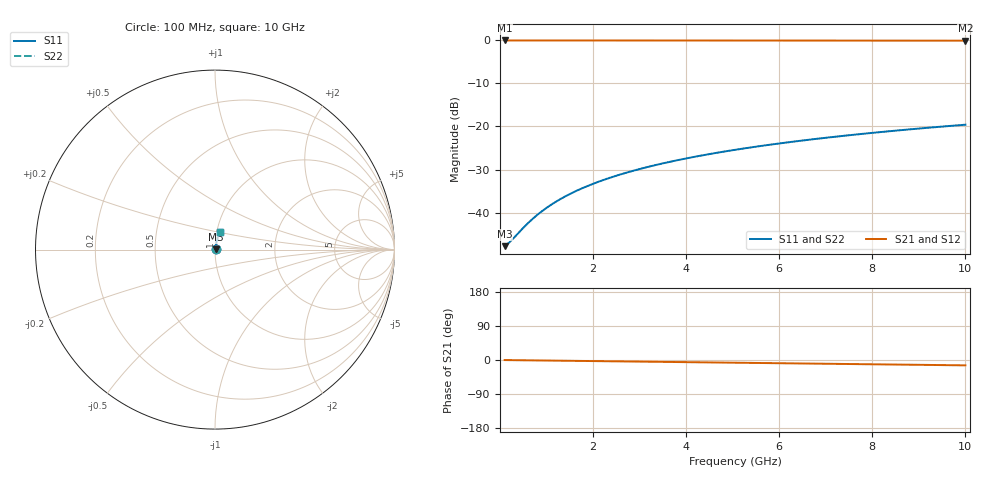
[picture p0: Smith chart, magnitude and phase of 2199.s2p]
# Hz S RI R 50.00
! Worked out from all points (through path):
!   100 points, 100 MHz to 10 GHz, reference 50 ohm
!   highest |S21| = -0.03 dB at 100 MHz (marker M1); lowest = -0.1 dB at 10 GHz (marker M2)
!   group delay of S21, straight-line fit = 3.93 ps
!   lowest |S11| = -47.8 dB at 100 MHz (marker M3), VSWR 1.01, Z = 50.4 + j0.106 ohm
!   |S11| at or under -10 dB: start of sweep to end of sweep
!   |S22| runs from -47.8 to -19.6 dB; largest |S21 - S12| = 0
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1e8  0.00395 0.00105  0.996 -0.00246  0.996 -0.00246  0.00395 0.00105
2e8  0.00398 0.0021  0.996 -0.00492  0.996 -0.00492  0.00398 0.0021
5e8  0.00408 0.00526  0.9959 -0.0123  0.9959 -0.0123  0.00408 0.00526
6e8  0.00412 0.00631  0.9958 -0.0148  0.9958 -0.0148  0.00412 0.00631
7e8  0.00417 0.00736  0.9958 -0.0172  0.9958 -0.0172  0.00417 0.00736
9e8  0.00427 0.00946  0.9956 -0.0221  0.9956 -0.0221  0.00427 0.00946
1.1e9  0.00439 0.0116  0.9955 -0.0271  0.9955 -0.0271  0.00439 0.0116
1.3e9  0.00452 0.0137  0.9953 -0.032  0.9953 -0.032  0.00452 0.0137
1.5e9  0.00468 0.0158  0.9951 -0.0369  0.9951 -0.0369  0.00468 0.0158
1.8e9  0.00496 0.0189  0.9947 -0.0443  0.9947 -0.0443  0.00496 0.0189
2.1e9  0.00528 0.022  0.9943 -0.0516  0.9943 -0.0516  0.00528 0.022
2.5e9  0.00577 0.0262  0.9936 -0.0614  0.9936 -0.0614  0.00577 0.0262
2.9e9  0.00635 0.0304  0.9928 -0.0712  0.9928 -0.0712  0.00635 0.0304
3.4e9  0.00718 0.0356  0.9916 -0.0835  0.9916 -0.0835  0.00718 0.0356
3.8e9  0.00794 0.0397  0.9906 -0.0933  0.9906 -0.0933  0.00794 0.0397
4.2e9  0.00878 0.0438  0.9894 -0.103  0.9894 -0.103  0.00878 0.0438
5.1e9  0.011 0.053  0.9864 -0.1249  0.9864 -0.1249  0.011 0.053
5.9e9  0.0132 0.0611  0.9832 -0.1443  0.9832 -0.1443  0.0132 0.0611
6.7e9  0.0158 0.069  0.9796 -0.1635  0.9796 -0.1635  0.0158 0.069
7.5e9  0.0187 0.0769  0.9755 -0.1827  0.9755 -0.1827  0.0187 0.0769
8.4e9  0.0224 0.0856  0.9705 -0.2041  0.9705 -0.2041  0.0224 0.0856
1e10  0.0298 0.1005  0.9601 -0.2416  0.9601 -0.2416  0.0298 0.1005
